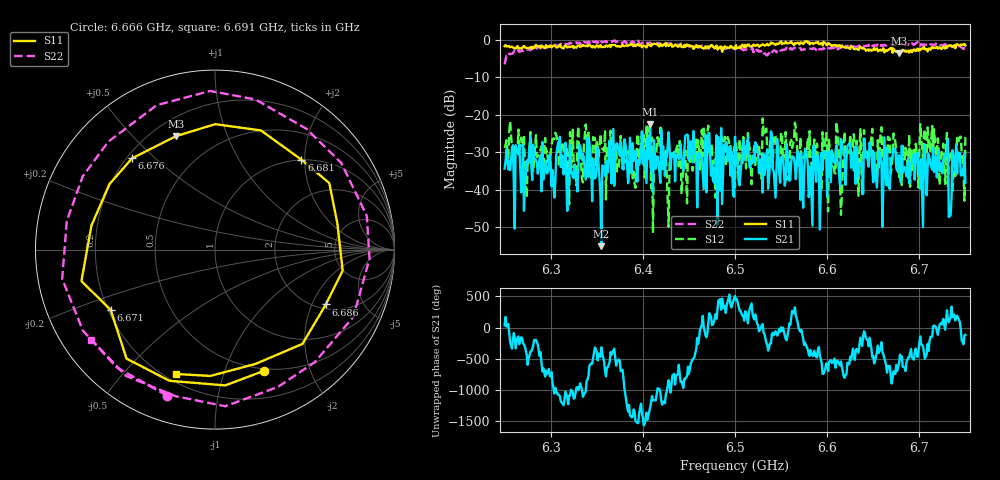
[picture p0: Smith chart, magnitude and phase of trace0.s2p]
# Hz S RI R 50
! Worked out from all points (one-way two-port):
!   401 points, 6.25 GHz to 6.75 GHz, reference 50 ohm
!   highest |S21| = -22.58 dB at 6.408 GHz (marker M1); lowest = -55.1 dB at 6.355 GHz (marker M2)
!   lowest |S11| = -3.5 dB at 6.678 GHz (marker M3), VSWR 5.03, Z = 14.7 + j33.7 ohm
!   |S11| at or under -10 dB: nowhere
!   |S22| runs from -6.5 to -0.2 dB; largest |S21 - S12| = 0.13
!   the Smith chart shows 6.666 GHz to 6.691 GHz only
!   S11 on the Smith chart (normalised r, x): 6.666 GHz: 0.47, -1.37; 6.671 GHz: 0.21, -0.26; 6.676 GHz: 0.22, +0.42; 6.681 GHz: 0.99, +1.93; 6.686 GHz: 2.19, -2.55; 6.691 GHz: 0.24, -0.71
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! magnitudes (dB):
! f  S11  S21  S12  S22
! 6.25 GHz  -1.7  -34.4  -28.8  -6.5
! 6.326 GHz  -1.8  -33.5  -33.3  -1.0
! 6.334 GHz  -1.6  -32.0  -37.2  -0.5
! 6.355 GHz  -2.0  -55.1  -28.1  -0.5
! 6.39 GHz  -1.7  -32.4  -35.2  -0.8
! 6.396 GHz  -1.5  -33.3  -32.8  -1.1
! 6.408 GHz  -1.6  -22.6  -27.8  -0.8
! 6.411 GHz  -1.2  -40.5  -51.6  -1.0
! 6.418 GHz  -1.8  -35.4  -28.6  -0.9
! 6.425 GHz  -1.7  -31.3  -29.7  -1.0
! 6.469 GHz  -2.2  -40.7  -32.5  -2.2
! 6.5 GHz  -2.3  -25.9  -39.2  -2.6
! 6.584 GHz  -0.9  -49.6  -35.5  -2.5
! 6.666 GHz  -2.8  -38.7  -25.9  -1.3
! 6.668 GHz  -2.4  -39.8  -26.4  -1.4
! 6.671 GHz  -3.5  -31.2  -31.2  -1.5
! 6.676 GHz  -3.3  -34.9  -33.8  -1.1
! 6.678 GHz  -3.5  -30.8  -36.6  -1.2
! 6.681 GHz  -3.2  -28.3  -38.8  -1.2
! 6.686 GHz  -3.2  -36.4  -29.7  -1.5
! 6.691 GHz  -2.8  -32.8  -29.6  -1.4
! 6.75 GHz  -1.5  -38.1  -25.1  -2.2
